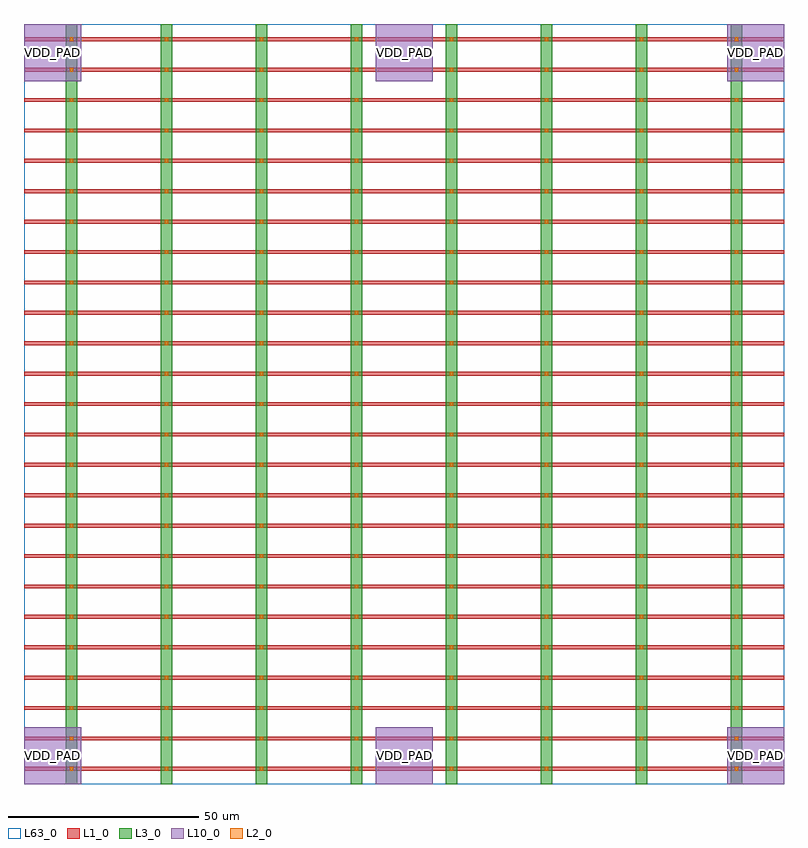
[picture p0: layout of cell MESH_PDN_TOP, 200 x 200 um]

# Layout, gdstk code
import gdstk
lib = gdstk.Library(unit=1e-6, precision=1e-09)
def R(c, l, rs):  # rectangles x0, y0, x1, y1
    for r in rs: c.add(gdstk.rectangle(r[:2], r[2:], *l))
def A(c, l, x, y, w, h, nx, ny, dx, dy):  # array of equal rectangles
    R(c, l, [(x+i*dx, y+j*dy, x+i*dx+w, y+j*dy+h) for i in range(nx) for j in range(ny)])
L1_0 = (1, 0)
L2_0 = (2, 0)
L3_0 = (3, 0)
L10_0 = (10, 0)
L63_0 = (63, 0)

mesh_pdn_top = lib.new_cell('MESH_PDN_TOP')
A(mesh_pdn_top, L1_0, 0, 3.5, 200, 1, 1, 25, 0, 8)
A(mesh_pdn_top, L2_0, 12, 3.5, 1, 1, 8, 25, 25, 8)
A(mesh_pdn_top, L3_0, 11, 0, 3, 200, 8, 1, 25, 0)
A(mesh_pdn_top, L10_0, 0, 0, 15, 15, 3, 2, 92.5, 185)
R(mesh_pdn_top, L63_0, [(0,0,200,200)])
mesh_pdn_top.add(gdstk.Label('VDD_PAD', (7.5,7.5), layer=10, texttype=0))
mesh_pdn_top.add(gdstk.Label('VDD_PAD', (192.5,7.5), layer=10, texttype=0))
mesh_pdn_top.add(gdstk.Label('VDD_PAD', (7.5,192.5), layer=10, texttype=0))
mesh_pdn_top.add(gdstk.Label('VDD_PAD', (192.5,192.5), layer=10, texttype=0))
mesh_pdn_top.add(gdstk.Label('VDD_PAD', (100,7.5), layer=10, texttype=0))
mesh_pdn_top.add(gdstk.Label('VDD_PAD', (100,192.5), layer=10, texttype=0))

lib.write_gds('MESH_PDN_TOP.gds')
